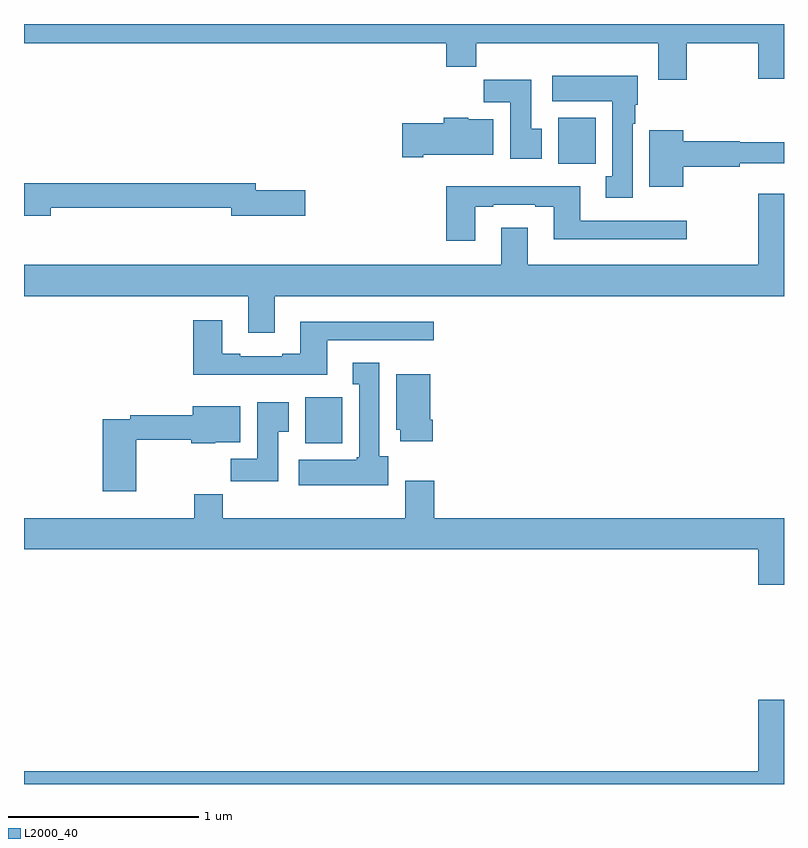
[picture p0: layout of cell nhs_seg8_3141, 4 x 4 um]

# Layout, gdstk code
import gdstk
lib = gdstk.Library(unit=1e-6, precision=1e-09)
def R(c, l, rs):  # rectangles x0, y0, x1, y1
    for r in rs: c.add(gdstk.rectangle(r[:2], r[2:], *l))
def P(c, l, *ps):  # polygons
    for p in ps: c.add(gdstk.Polygon(p, *l))
L2000_40 = (2000, 40)

nhs_seg8_3141 = lib.new_cell('nhs_seg8_3141')
R(nhs_seg8_3141, L2000_40, [(306.479,1147.694,306.676,1147.936), (307.811,1149.164,308.008,1149.406)])
P(nhs_seg8_3141, L2000_40, [(308.487,1149.8),(308.864,1149.8),(308.864,1149.612),(309,1149.612),(309,1149.9),(305,1149.9),(305,1149.8),(307.223,1149.8),(307.223,1149.676),(307.379,1149.676),(307.379,1149.8),(308.339,1149.8),(308.339,1149.606),(308.487,1149.606)],
  [(308.203,1149.374),(308.218,1149.374),(308.218,1149.474),(308.23,1149.474),(308.23,1149.628),(307.779,1149.628),(307.779,1149.494),(308.096,1149.494),(308.096,1149.098),(308.063,1149.098),(308.063,1148.985),(308.203,1148.985)],
  [(307.726,1149.348),(307.669,1149.348),(307.669,1149.607),(307.42,1149.607),(307.42,1149.488),(307.559,1149.488),(307.559,1149.192),(307.726,1149.192)],
  [(307.102,1149.212),(307.471,1149.212),(307.471,1149.4),(307.338,1149.4),(307.338,1149.406),(307.208,1149.406),(307.208,1149.378),(306.99,1149.378),(306.99,1149.2),(307.102,1149.2)],
  [(308.47,1149.148),(308.768,1149.148),(308.768,1149.167),(309,1149.167),(309,1149.277),(308.766,1149.277),(308.766,1149.284),(308.47,1149.284),(308.47,1149.34),(308.291,1149.34),(308.291,1149.044),(308.47,1149.044)],
  [(305.14,1148.934),(306.092,1148.934),(306.092,1148.891),(306.481,1148.891),(306.481,1149.026),(306.22,1149.026),(306.22,1149.062),(305,1149.062),(305,1148.891),(305.14,1148.891)],
  [(307.375,1148.937),(307.471,1148.937),(307.471,1148.949),(307.691,1148.949),(307.691,1148.937),(307.787,1148.937),(307.787,1148.768),(308.488,1148.768),(308.488,1148.865),(307.927,1148.865),(307.927,1149.046),(307.223,1149.046),(307.223,1148.76),(307.375,1148.76)],
  [(306.319,1148.468),(309,1148.468),(309,1149.007),(308.864,1149.007),(308.864,1148.632),(307.651,1148.632),(307.651,1148.827),(307.511,1148.827),(307.511,1148.632),(305,1148.632),(305,1148.468),(306.179,1148.468),(306.179,1148.274),(306.319,1148.274)],
  [(306.595,1148.235),(307.156,1148.235),(307.156,1148.332),(306.455,1148.332),(306.455,1148.164),(306.359,1148.164),(306.359,1148.151),(306.139,1148.151),(306.139,1148.164),(306.043,1148.164),(306.043,1148.341),(305.891,1148.341),(305.891,1148.054),(306.595,1148.054)],
  [(306.916,1147.626),(306.871,1147.626),(306.871,1148.116),(306.731,1148.116),(306.731,1148.003),(306.764,1148.003),(306.764,1147.62),(306.751,1147.62),(306.751,1147.606),(306.447,1147.606),(306.447,1147.472),(306.916,1147.472)],
  [(307.151,1147.816),(307.138,1147.816),(307.138,1148.056),(306.959,1148.056),(306.959,1147.764),(306.98,1147.764),(306.98,1147.704),(307.151,1147.704)],
  [(306.337,1147.753),(306.394,1147.753),(306.394,1147.909),(306.227,1147.909),(306.227,1147.612),(306.088,1147.612),(306.088,1147.494),(306.337,1147.494)],
  [(305.592,1147.713),(305.881,1147.713),(305.881,1147.694),(306.006,1147.694),(306.006,1147.7),(306.139,1147.7),(306.139,1147.888),(305.888,1147.888),(305.888,1147.841),(305.56,1147.841),(305.56,1147.821),(305.414,1147.821),(305.414,1147.44),(305.592,1147.44)],
  [(309,1147.3),(307.16,1147.3),(307.16,1147.495),(307.007,1147.495),(307.007,1147.3),(306.047,1147.3),(306.047,1147.424),(305.896,1147.424),(305.896,1147.3),(305,1147.3),(305,1147.136),(308.864,1147.136),(308.864,1146.948),(309,1146.948)],
  [(309,1146.343),(308.864,1146.343),(308.864,1145.968),(305,1145.968),(305,1145.9),(309,1145.9)])

lib.write_gds('nhs_seg8_3141.gds')
